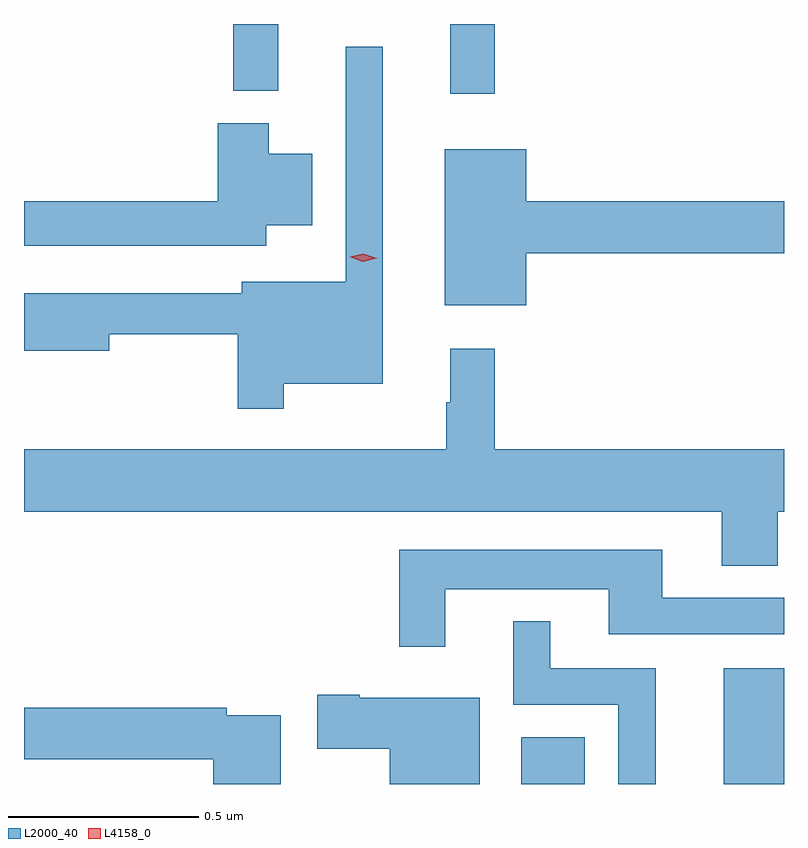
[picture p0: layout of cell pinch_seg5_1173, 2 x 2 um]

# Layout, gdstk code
import gdstk
lib = gdstk.Library(unit=1e-6, precision=1e-09)
def R(c, l, rs):  # rectangles x0, y0, x1, y1
    for r in rs: c.add(gdstk.rectangle(r[:2], r[2:], *l))
def P(c, l, *ps):  # polygons
    for p in ps: c.add(gdstk.Polygon(p, *l))
L2000_40 = (2000, 40)
L4158_0 = (4158, 0)

pinch_seg5_1173 = lib.new_cell('pinch_seg5_1173')
R(pinch_seg5_1173, L2000_40, [(790.628,846.719,790.795,846.842), (791.162,846.719,791.32,847.024), (790.442,848.535,790.559,848.719), (789.871,848.543,789.989,848.719)])
P(pinch_seg5_1173, L2000_40, [(790.003,847.772),(790.264,847.772),(790.264,848.659),(790.167,848.659),(790.167,848.041),(789.893,848.041),(789.893,848.01),(789.32,848.01),(789.32,847.859),(789.544,847.859),(789.544,847.902),(789.882,847.902),(789.882,847.707),(790.003,847.707)],
  [(789.958,848.189),(790.078,848.189),(790.078,848.377),(789.964,848.377),(789.964,848.458),(789.83,848.458),(789.83,848.252),(789.32,848.252),(789.32,848.136),(789.958,848.136)],
  [(790.642,848.116),(791.32,848.116),(791.32,848.252),(790.642,848.252),(790.642,848.389),(790.427,848.389),(790.427,847.979),(790.642,847.979)],
  [(791.304,847.436),(791.32,847.436),(791.32,847.6),(790.559,847.6),(790.559,847.864),(790.442,847.864),(790.442,847.724),(790.431,847.724),(790.431,847.6),(789.32,847.6),(789.32,847.436),(791.156,847.436),(791.156,847.294),(791.304,847.294)],
  [(790.429,847.232),(790.859,847.232),(790.859,847.113),(791.32,847.113),(791.32,847.209),(790.999,847.209),(790.999,847.336),(790.308,847.336),(790.308,847.08),(790.429,847.08)],
  [(790.982,847.023),(790.705,847.023),(790.705,847.147),(790.607,847.147),(790.607,846.927),(790.884,846.927),(790.884,846.719),(790.982,846.719)],
  [(790.519,846.946),(790.204,846.946),(790.204,846.954),(790.092,846.954),(790.092,846.812),(790.282,846.812),(790.282,846.719),(790.519,846.719)],
  [(789.996,846.9),(789.854,846.9),(789.854,846.92),(789.32,846.92),(789.32,846.784),(789.818,846.784),(789.818,846.719),(789.996,846.719)])
P(pinch_seg5_1173, L4158_0, [(790.212,848.094),(790.177,848.106),(790.177,848.106),(790.177,848.106),(790.213,848.114),(790.248,848.103),(790.249,848.103),(790.248,848.102)])

lib.write_gds('pinch_seg5_1173.gds')
